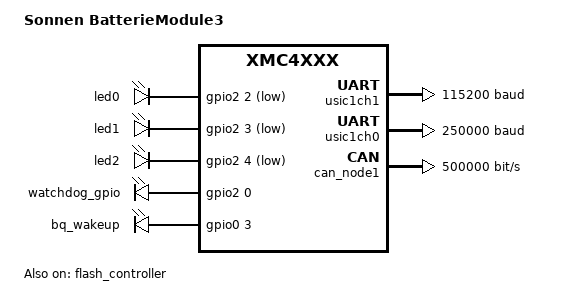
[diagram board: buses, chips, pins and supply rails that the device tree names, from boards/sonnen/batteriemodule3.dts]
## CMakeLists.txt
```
cmake_minimum_required(VERSION 3.13.1)

list(APPEND BOARD_ROOT ${CMAKE_CURRENT_LIST_DIR})

find_package(Zephyr REQUIRED HINTS $ENV{ZEPHYR_BASE})

project(app LANGUAGES C CXX)

INCLUDE_DIRECTORIES(include)

target_sources(app PRIVATE src/main.cpp src/gpio.cpp src/can.c src/pl455.cpp src/module_data.cpp src/slave.cpp src/master.cpp) 
```

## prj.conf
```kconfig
CONFIG_CPP=y
CONFIG_REQUIRES_FULL_LIBCPP=n
CONFIG_CAN=y
CONFIG_GPIO=y
CONFIG_BUILD_OUTPUT_HEX=y
CONFIG_ASSERT=y

CONFIG_CAN_INIT_PRIORITY=80
CONFIG_CAN_MAX_FILTER=5
CONFIG_CAN_ACCEPT_RTR=y

CONFIG_MAIN_STACK_SIZE=4096
CONFIG_DEBUG_OPTIMIZATIONS=y

# CONFIG_HEAP_MEM_POOL_SIZE=12000
CONFIG_THREAD_NAME=y


CONFIG_LOG=y

CONFIG_THREAD_STACK_INFO=y
CONFIG_THREAD_ANALYZER=y
```

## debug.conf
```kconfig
# compiler
CONFIG_DEBUG_OPTIMIZATIONS=y

# console
# CONFIG_CONSOLE=n

# # UART console
# CONFIG_SERIAL=y
# CONFIG_UART_CONSOLE=y

# logging
#CONFIG_LOG=n
#CONFIG_APP_LOG_LEVEL_DBG=n
```

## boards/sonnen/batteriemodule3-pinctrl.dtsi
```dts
/*
 * Copyright (c) 2022 Schlumberger
 * SPDX-License-Identifier: Apache-2.0
 */

#include <infineon/cat3/xmc/xmc4400_F64x512-pinctrl.dtsi>

&uart_tx_p0_1_u1c1 {
	drive-strength = "strong-soft-edge";
	drive-push-pull;
	hwctrl = "disabled";
};

&uart_rx_p0_0_u1c1 {
	drive-strength = "strong-soft-edge";
	hwctrl = "disabled";
};

&uart_tx_p0_5_u1c0 {
	drive-strength = "strong-soft-edge";
	drive-push-pull;
	hwctrl = "disabled";
};

&uart_rx_p0_4_u1c0 {
	drive-strength = "strong-soft-edge";
	hwctrl = "disabled";
};

&can_tx_p2_7_node1 {
	drive-strength = "strong-soft-edge";
	drive-push-pull;
	hwctrl = "disabled";
};

&can_rx_p2_6_node1 {
	drive-strength = "strong-soft-edge";
	hwctrl = "disabled";
};
```

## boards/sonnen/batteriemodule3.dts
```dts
/dts-v1/;

#include <infineon/cat3/xmc/xmc4400_F64x512.dtsi>
#include <infineon/cat3/xmc/xmc4400_F64x512-intc.dtsi>
#include "batteriemodule3-pinctrl.dtsi"

/ {
	model = "Sonnen BatterieModule3";
	compatible = "sonnen,batteriemodule3", "infineon,xmc4400",
						"infineon,xmc4xxx";

	aliases {
		die-temp0 = &die_temp;
		watchdog0 = &wdt0;
		rtc = &rtc;
		led0 = &led0;
		led1 = &led1;
		led2 = &led2;
		watchdogreset = &watchdog_gpio;
		bquart = &usic1ch0;
		bqwakeup = &bq_wakeup;
	};

	leds {
		compatible = "gpio-leds";

		led0: led_0 {
			gpios = <&gpio2 2 GPIO_ACTIVE_LOW>;
		};

		led1: led_1 {
			gpios = <&gpio2 3 GPIO_ACTIVE_LOW>;
		};

		led2: led_2 {
			gpios = <&gpio2 4 GPIO_ACTIVE_LOW>;
		};

		watchdog_gpio: watchdog_gpio {
			gpios = <&gpio2 0 GPIO_ACTIVE_HIGH>;
		};

		bq_wakeup: bq_wakeup {
			gpios = <&gpio0 3 GPIO_ACTIVE_HIGH>;
		};
	};

	chosen {
		zephyr,sram = &dsram1;
		zephyr,flash = &flash0;
		zephyr,console = &usic1ch1;
		zephyr,shell-uart = &usic1ch1;
		zephyr,flash-controller = &flash_controller;
		zephyr,code-partition = &code_partition;
		zephyr,canbus = &can_node1;
	};
};

&psram1 {
	compatible = "zephyr,memory-region", "mmio-sram";
	zephyr,memory-region = "PSRAM1";
};

&dsram2 {
	compatible = "zephyr,memory-region", "mmio-sram";
	zephyr,memory-region = "DSRAM2";
};

&flash_controller {
	status = "okay";
};

&flash0 {
	partitions {
		compatible = "fixed-partitions";
		#address-cells = <1>;
		#size-cells = <1>;

		code_partition: partition@0 {
			reg = <0x0 0x80000>;
			read-only;
		};

		storage_partition: partition@80000 {
			label = "storage";
			reg = <0x80000 0x80000>;
		};
	};
};

&cpu0 {
	clock-frequency = <120000000>;
};

&usic1ch1 {
	compatible = "infineon,xmc4xxx-uart";
	current-speed = <115200>;
	pinctrl-0 = <&uart_tx_p0_1_u1c1 &uart_rx_p0_0_u1c1>;
	pinctrl-names = "default";
	input-src = "DX0D";
	interrupts = <90 1 91 1>;
	interrupt-names = "tx", "rx";
	fifo-start-offset = <0>;
	fifo-tx-size = <0>;
	fifo-rx-size = <0>;
	status = "okay";
};

&usic1ch0 {
	compatible = "infineon,xmc4xxx-uart";
	current-speed = <250000>;
	stop-bits = "1";
	pinctrl-0 = <&uart_tx_p0_5_u1c0 &uart_rx_p0_4_u1c0>;
	pinctrl-names = "default";
	input-src = "DX0A";
	interrupts = <94 1 95 1>;
	interrupt-names = "tx_bq", "rx_bq";
	fifo-start-offset = <0>;
	fifo-tx-size = <0>;
	fifo-rx-size = <64>;
	status = "okay";
};


&gpio0 {
	status = "okay";
};

&gpio1 {
	status = "okay";
};

&gpio2 {
	status = "okay";
};

&can {
	message-objects = <64>;
	clock-prescaler = <6>;
};

&can_node1 {
	status = "okay";
	input-src = "RXDA";
	pinctrl-0 = <&can_tx_p2_7_node1 &can_rx_p2_6_node1>;
	pinctrl-names = "default";
	bus-speed = <500000>;
};
```

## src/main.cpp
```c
#include <zephyr/kernel.h>

#include "gpio.h"
#include "can.h"
#include "slave.h"
#include "master.h"


#define MODULE_ID 0 // Master has id 0

GPIO gpio;

#if MODULE_ID == 0
	K_MSGQ_DEFINE(master_queue, sizeof(Request), 4, 1);
	MasterBMS  master(gpio);
	ModuleData moduleDatas[NUM_MODULES];
#else
	ModuleData moduleDatas[1];
#endif

void messageReceived(uint32_t id, bool rtr, uint8_t *data, uint8_t dataLen)
{
	#if MODULE_ID == 0
	// printk("Received message %x, rtr: %d, dataLen: %d\n", id, rtr, dataLen);

	if(id == 0x4200 && dataLen == 8) // Host request
	{

		constexpr Request e = Request::EnsembleInformation;
		constexpr Request s = Request::SystemEqipmentInformation;
		auto req = (Message::HostRequest*) data;
		k_msgq_put(&master_queue, (req->request == s ? &s : &e), K_NO_WAIT);

	}
	else
	{
		auto moduleId = (id & IdMask) / ModuleOffset;
		if(moduleId >= NUM_MODULES)
		{
			printk("Error: module out of range: %d\n", moduleId);
			return;
		}
		moduleDatas[moduleId].SetRawData(id, data);
		if(moduleDatas[moduleId].isComplete())
		{
			master.updateModuleData(moduleId, moduleDatas[moduleId]);
		}
	}
	#endif
}

void feed(GPIO& gpio)
{
	gpio.Set(GPIO::Name::WATCHDOG, true);
	k_msleep(1);
	gpio.Set(GPIO::Name::WATCHDOG, false);
}

int main(void)
{
	
	CAN_Initialize(messageReceived);
	Slave slave(moduleDatas[0], MODULE_ID, gpio);

	while(1)
	{
		feed(gpio);
		auto update = slave.worker();
		#if MODULE_ID == 0
		if(update)
		{
			master.updateModuleData(MODULE_ID, moduleDatas[0]);
		}
		master.worker(master_queue);
		#endif
	}
	return 0;
}
```

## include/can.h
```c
#pragma once
#ifdef __cplusplus
extern "C" {
#endif

#include <stdbool.h>
#include <stdint.h>

#define CAN_ERROR -1
#define CAN_SUCCESS 0


typedef void (*CAN_RxCallback)(uint32_t id, bool rtr, uint8_t *data, uint8_t dataLen);

int CAN_Initialize(CAN_RxCallback rxCallback);
int CAN_Send(uint32_t id, uint8_t *data, uint8_t dataLen);

#ifdef __cplusplus
}
#endif
```

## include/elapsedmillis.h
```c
#pragma once

class elapsedMillis
{
private:
    uint32_t ms;
public:
    // Default constructor: sets the start time to current uptime.
    elapsedMillis(void) { ms = k_uptime_get_32(); }

    // Constructor that simulates a timer started "val" milliseconds ago.
    elapsedMillis(unsigned long val) { ms = k_uptime_get_32() - val; }

    // Copy constructor.
    elapsedMillis(const elapsedMillis &orig) { ms = orig.ms; }

    // Implicit conversion to unsigned long returns the elapsed time.
    operator unsigned long () const { return k_uptime_get_32() - ms; }

    // Copy assignment operator.
    elapsedMillis & operator = (const elapsedMillis &rhs) { ms = rhs.ms; return *this; }

    // Assignment from an unsigned long value: resets the timer such that the elapsed time equals the given value.
    elapsedMillis & operator = (unsigned long val) { ms = k_uptime_get_32() - val; return *this; }

    // Adjust the timer: add a delay.
    elapsedMillis & operator -= (unsigned long val) { ms += val; return *this; }

    // Adjust the timer: subtract a delay.
    elapsedMillis & operator += (unsigned long val) { ms -= val; return *this; }

    // Arithmetic operators that return a new elapsedMillis object.
    elapsedMillis operator - (int val) const           { elapsedMillis r(*this); r.ms += val; return r; }
    elapsedMillis operator - (unsigned int val) const    { elapsedMillis r(*this); r.ms += val; return r; }
    elapsedMillis operator - (long val) const            { elapsedMillis r(*this); r.ms += val; return r; }
    elapsedMillis operator - (unsigned long val) const   { elapsedMillis r(*this); r.ms += val; return r; }
    elapsedMillis operator + (int val) const             { elapsedMillis r(*this); r.ms -= val; return r; }
    elapsedMillis operator + (unsigned int val) const    { elapsedMillis r(*this); r.ms -= val; return r; }
    elapsedMillis operator + (long val) const            { elapsedMillis r(*this); r.ms -= val; return r; }
    elapsedMillis operator + (unsigned long val) const   { elapsedMillis r(*this); r.ms -= val; return r; }
};
```

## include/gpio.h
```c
#ifndef LEDS_H
#define LEDS_H

#include <zephyr/kernel.h>
#include <zephyr/drivers/gpio.h>

class GPIO 
{
public:
    enum class Name {LED0, LED1, LED2, WATCHDOG};
	GPIO();

	bool Get(Name name);
    void Toggle(Name name);
    void Set(Name name, bool value);

private:
	struct gpio_dt_spec led1_spec;
	struct gpio_dt_spec led2_spec;
	struct gpio_dt_spec led0_spec;
	struct gpio_dt_spec watchdogreset_spec;
};

#endif // LEDS_H
```

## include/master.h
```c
#pragma once

#include "pylon_hv.h"
#include "module_data.h"
#include <cstddef>
#include "gpio.h"

#ifndef CONFIG_MASTER_BMS_LOG_LEVEL
#define CONFIG_MASTER_BMS_LOG_LEVEL LOG_LEVEL_INF
#endif

#define MODULE_DATA_TIMEOUT_MS 5000

#define NUM_MODULES 2

class MasterBMS {
public:
    MasterBMS(GPIO& gpio);

    // Update data for a specific module
    // Returns true if successful, false on invalid index
    bool updateModuleData(uint8_t moduleIndex, const ModuleData& data);

    // Process all received module data to update master status
    void processData();

    // --- Getters for Output Data ---
    const Message::Status& getStatus() const;
    const Message::ChargeDischargeParameters& getChargeDischargeParameters() const;
    const Message::CellVoltageStatus& getCellVoltageStatus() const;
    const Message::CellTemperatureStatus& getCellTemperatureStatus() const;
    const Message::Bits& getBits() const;
    const Message::ModuleVoltageStatus& getModuleVoltageStatus() const;
    const Message::ModuleTemperatureStatus& getModuleTemperatureStatus() const;
    const Message::ChargeDischargeStatus& getChargeDischargeStatus() const;
    const Message::FaultExtensionInfo& getFaultExtensionInfo() const;

    // --- Host Request Handling (Example) ---
    void handleHostRequest(Request request);
    void worker(k_msgq& queue);


private:
    // Compile-time check for number of modules
    static_assert(NUM_MODULES > 0, "Number of modules must be greater than zero.");

    GPIO& mGPIO;

    // Internal Data Storage (C-Style Arrays)
    ModuleData moduleData_[NUM_MODULES] = {};
    bool initializedModules_[NUM_MODULES] = {0}; // Track if initial data received
    int64_t lastUpdateTimeMs_[NUM_MODULES] = {0}; // Track data freshness
    bool allModulesInitialized_ = false;
    bool communicationOk_ = false; // Tracks if all modules are communicating within timeout

    // Output data storage
    Message::Status outputStatus_{};
    Message::ChargeDischargeParameters outputChargeDischargeParams_{};
    Message::CellVoltageStatus outputCellVoltageStatus_{};
    Message::CellTemperatureStatus outputCellTemperatureStatus_{};
    Message::Bits outputBits_{};
    Message::ModuleVoltageStatus outputModuleVoltageStatus_{};
    Message::ModuleTemperatureStatus outputModuleTemperatureStatus_{};
    Message::ChargeDischargeStatus outputChargeDischargeStatus_{};
    Message::FaultExtensionInfo outputFaultExt_{};

    // --- Placeholder Thresholds (DEFINE THESE BASED ON LFP DATASHEET AND SYSTEM REQUIREMENTS) ---
    // Cell Voltages in 0.1mV
    static constexpr uint16_t CELL_OVER_VOLTAGE_PROTECTION_THRESHOLD_01MV = 36500; // 3.65V
    static constexpr uint16_t CELL_UNDER_VOLTAGE_PROTECTION_THRESHOLD_01MV = 25000; // 2.50V
    static constexpr uint16_t CELL_OVER_VOLTAGE_ALARM_THRESHOLD_01MV = 36000;    // 3.60V
    static constexpr uint16_t CELL_UNDER_VOLTAGE_ALARM_THRESHOLD_01MV = 27000;   // 2.70V

    // Module Voltages in 0.1V (Sum of m1+m2)
    static constexpr uint16_t MODULE_OVER_VOLTAGE_PROTECTION_THRESHOLD_01V = (365 * 32) / 10; // 3.65V/cell * 32 cells -> 116.8V -> 1168 * 0.1V
    static constexpr uint16_t MODULE_UNDER_VOLTAGE_PROTECTION_THRESHOLD_01V = (250 * 32) / 10; // 2.50V/cell * 32 cells -> 80.0V -> 800 * 0.1V
    static constexpr uint16_t MODULE_OVER_VOLTAGE_ALARM_THRESHOLD_01V = (360 * 32) / 10;     // 3.60V/cell * 32 cells -> 115.2V -> 1152 * 0.1V
    static constexpr uint16_t MODULE_UNDER_VOLTAGE_ALARM_THRESHOLD_01V = (270 * 32) / 10;    // 2.70V/cell * 32 cells -> 86.4V -> 864 * 0.1V

    // Temperatures in 0.1C (Non-negative)
    static constexpr uint16_t CHARGE_OVER_TEMP_PROTECTION_THRESHOLD_01C = 500;   // 50.0 C
    static constexpr uint16_t CHARGE_UNDER_TEMP_PROTECTION_THRESHOLD_01C = 0;      // 0.0 C
    static constexpr uint16_t DISCHARGE_OVER_TEMP_PROTECTION_THRESHOLD_01C = 600;  // 60.0 C
    static constexpr uint16_t DISCHARGE_UNDER_TEMP_PROTECTION_THRESHOLD_01C = 10; // 1.0 C (Example, avoid discharge below freezing if needed, was -200 before)
    static constexpr uint16_t CHARGE_HIGH_TEMP_ALARM_THRESHOLD_01C = 450;    // 45.0 C
    static constexpr uint16_t CHARGE_LOW_TEMP_ALARM_THRESHOLD_01C = 50;     // 5.0 C
    static constexpr uint16_t DISCHARGE_HIGH_TEMP_ALARM_THRESHOLD_01C = 550;   // 55.0 C
    static constexpr uint16_t DISCHARGE_LOW_TEMP_ALARM_THRESHOLD_01C = 50;    // 5.0 C (Was -100 before)

    // Currents in 0.1A (System Level)
    // Note: Input current is 0.1mA, requires scaling
    static constexpr int16_t CHARGE_OVER_CURRENT_PROTECTION_THRESHOLD_01A = 190; // 19A Charge
    static constexpr int16_t DISCHARGE_OVER_CURRENT_PROTECTION_THRESHOLD_01A = -190;// 19A Discharge (Negative)
    static constexpr int16_t CHARGE_OVER_CURRENT_ALARM_THRESHOLD_01A = 180;  // 18A Charge
    static constexpr int16_t DISCHARGE_OVER_CURRENT_ALARM_THRESHOLD_01A = -180; // 18A Discharge (Negative)

    // SOC Derating Thresholds (%)
    static constexpr uint8_t SOC_HIGH_CHARGE_DERATE_START = 90;         // Start reducing charge current above this SOC
    static constexpr uint8_t SOC_NEAR_FULL_CHARGE_DERATE_START = 95;    // Reduce charge current further
    static constexpr uint8_t SOC_LOW_DISCHARGE_DERATE_START = 10;       // Start reducing discharge current below this SOC
    static constexpr uint8_t SOC_NEAR_EMPTY_DISCHARGE_DERATE_START = 5; // Reduce discharge current further

    // Cell Imbalance Threshold (0.1mV) - Reduce current if max-min cell voltage exceeds this
    static constexpr uint16_t CELL_IMBALANCE_DERATE_THRESHOLD_01MV = 1000; // 100mV example

    // SOH Derating Thresholds (%) - Reduce current below these SOH values
    static constexpr uint8_t SOH_DERATE_LEVEL1_THRESHOLD = 90;
    static constexpr uint8_t SOH_DERATE_LEVEL2_THRESHOLD = 80;
    static constexpr uint8_t SOH_DERATE_LEVEL3_THRESHOLD = 70;

    // Derating Factors (0.0 to 1.0) - Multipliers applied to base current limit
    static constexpr float TEMP_DERATE_FACTOR = 0.5f;
    static constexpr float SOC_HIGH_CHARGE_FACTOR = 0.5f;
    static constexpr float SOC_NEAR_FULL_CHARGE_FACTOR = 0.2f;
    static constexpr float SOC_LOW_DISCHARGE_FACTOR = 0.5f;
    static constexpr float SOC_NEAR_EMPTY_DISCHARGE_FACTOR = 0.2f;
    static constexpr float IMBALANCE_DERATE_FACTOR = 0.5f;
    static constexpr float SOH_DERATE_LEVEL1_FACTOR = 0.9f;
    static constexpr float SOH_DERATE_LEVEL2_FACTOR = 0.8f;
    static constexpr float SOH_DERATE_LEVEL3_FACTOR = 0.7f;

    // System Voltage Limits in 0.1V (Example values)
    // Calculated based on NUM_MODULES, defined in constructor or method
    uint16_t SYSTEM_CHARGE_CUTOFF_VOLTAGE_01V = (360 * 32 * NUM_MODULES) / 10; // ~3.6V per cell
    uint16_t SYSTEM_DISCHARGE_CUTOFF_VOLTAGE_01V = (280 * 32 * NUM_MODULES) / 10; // ~2.8V per cell


    // --- Private Helper Methods ---
    void resetOutputs();
    void checkAllModulesInitialized();
    bool checkCommunicationTimeout(); // Returns true if communication is OK

    // Calculation Helpers
    uint8_t calculateSOC(uint16_t min_cell_voltage);
    uint8_t calculateSOH();
    uint16_t calculateMaxChargeCurrent(); // Returns absolute value in 0.1A
    uint16_t calculateMaxDischargeCurrent(); // Returns absolute value in 0.1A
    State determineSystemState(int16_t);
};
```

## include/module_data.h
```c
#pragma once

#include <stdint.h>

constexpr uint32_t BaseAddress = 	0x11DD0000;
constexpr uint32_t ModuleOffset = 		0x1000;
constexpr uint32_t ModuleStateOffset = 	 0x000;
constexpr uint32_t CellStateOffset = 	 0x100;
constexpr uint32_t AdcVoltageOffset =    0x200;
constexpr uint32_t DataTypeMask =   	 0xF00;
constexpr uint32_t DataChannelMask =   	  0xFF;
constexpr uint32_t IdMask =   		 	0xF000;

struct CellState
{
	uint16_t voltage; //in 0,1mV steps
	uint8_t balancing; // indicates if cell is currently balanced
} __attribute__((packed));

struct ModuleState
{
	// m1 + m2 gives module voltage, m1 is for first 16 cells m2 is for second 16 cells
	uint16_t m1Voltage; //in 0,1V steps
	uint16_t m2Voltage; //in 0,1V steps
	int16_t current; //in 0,1mA steps
	uint16_t temperature; //in 0,1C steps
} __attribute__((packed));

struct ModuleData
{
    ModuleState moduleState;
    CellState cellStates[32];
	uint16_t adcStates[16];
	void SetRawData(uint32_t address, uint8_t *data);
	uint32_t cellStatesUpdateFlags = 0;
	uint16_t adcUpdateFlags = 0;
	bool moduleStateFlag = false;
	bool isComplete();
};
```

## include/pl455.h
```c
#include <zephyr/drivers/uart.h>
#include <zephyr/drivers/gpio.h>
#include <zephyr/kernel.h>
#include <errno.h>
#include <string.h>
#include "pl455_config.h"
#include "elapsedmillis.h"
#include "module_data.h"
#include "thread_wrapper.h"
#include "gpio.h"

#define SCOPE_SINGLE 0
#define SCOPE_GROUP 1
#define SCOPE_BRDCST 3

#ifndef CONFIG_PL455_LOG_LEVEL
#define CONFIG_PL455_LOG_LEVEL LOG_LEVEL_INF
#endif

class PL455
{
public:
    PL455(GPIO& gpio);

    int wakeup();

    void init();
    uint16_t getModuleVoltage(uint8_t module);
    uint16_t getCellVoltage(uint8_t module, uint8_t cell);
    uint16_t getAuxVoltage(uint8_t module, uint8_t aux);
    int getNumModules();
    uint16_t getMinCellVoltage();
    uint16_t getMaxCellVoltage();
    uint16_t getDifCellVoltage();
    void runBMS();
    bool getBalanceStatus(uint8_t module, uint8_t cell);
    float getTemperature(uint8_t module, uint8_t sensor);
    void fillModuleData(ModuleData& data);


private:
    GPIO& mGPIO;
    const struct device *uartDev;
    struct gpio_dt_spec wakeupGPIO;

    uint16_t CRC16(uint8_t *pBuf, int nLen);
    uint8_t getInitFrame(uint8_t _readWrite, uint8_t scope, uint8_t data_size);
    uint16_t adc2volt(uint16_t adcReading);
    float adc2temp(uint16_t adcReading);
    void send_Frame(uint8_t *message, int messageLength);
    void writeRegister(uint8_t scope, uint8_t device_addr, uint8_t register_addr, const uint8_t *data, uint8_t data_size);
    void readRegister(uint8_t scope, uint8_t device_addr, uint8_t group_id, uint8_t register_addr, uint8_t uint8_tsToReturn);
    void configure();
    void setAddresses();
    void findMinMaxCellVolt();
    void chooseBalanceCells();
    void listenSerial();
    void commReset(bool reset);
    uint8_t numModules = 0;
    bool rxInProgress = 0;
    uint8_t uint8_tsToReceive = 0;
    uint8_t uint8_tsReceived = 0;
    uint8_t registerRequested = 0;
    uint8_t deviceRequested = 0;
    uint8_t scopeRequested = 0;
    uint8_t serialRXbuffer[132];
    bool waitingForResponse = 0;
    bool sentRequest = 0;
    uint16_t moduleVoltages[MAX_MODULES] = {0};    // stores module voltages (raw ADC 16bit values)
    uint16_t cellVoltages[MAX_MODULES][NUM_CELLS] = {0};
    uint16_t auxVoltages[MAX_MODULES][8] = {0};
    uint16_t minCellVoltage = 0;
    uint16_t maxCellVoltage = 0;
    int16_t difCellVoltage = 0;
    bool balanceCells[MAX_MODULES][NUM_CELLS] = {0};
    uint8_t bmsStep = 0;
    unsigned long bmsStepPeriod = 0; // microseconds
    unsigned long bmsStepTime = 0;   // microseconds
    elapsedMillis commTimeout;
    uint8_t bmsSteps;
    uint8_t voltsRequested = 0;

    

    
};
```

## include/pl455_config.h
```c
#ifndef CONFIGH
#define CONFIGH


#define NUM_CELLS 16
#define ADDR_SIZE 0 //0 is 8 bit register addresses (TI recommended), 1 is 16 bit (used by BMW)
#define MAX_MODULES 2 //maximum of 16 modules in a pack
#define COMM_TIMEOUT 1000 //ms, sets an error flag if we don't recieve a response to a request in this time

#define CELL_IGNORE_VOLT 5000 //ADC readings below this number will result in the cell being ignored for min and average etc calcuations. 5000 is 381mV, which should be plenty high enough to ignore disconnected cells
#define BALANCE_TOLERANCE 26 //Balance will not be enabled for cells <2mV away from the min cell voltage. 26 is 2mV
#define BALANCE_DUTYCYCLE 90 //Percent, approximate!
#define BALANCE_MIN_VOLT 39321 //ADC readings below this number will preclude balancing. 39321 is 3.0V
#define BALANCE_WHILE_CHARGE 1 //if 1, the BMS will always balance while charging (current < 0), even if voltages are low

#define BMS_CYCLE_PERIOD 500000 //microseconds, you get a voltage reading approximately this often (actually, the time between voltages will always be greater due to sampling times and delays)

#define REPORTING_PERIOD 1000 //milliseconds - you get an status output this frequently.
#define VOLTS_DECIMALS 3 //decimal points used for voltage reporting
#define TEMP_DECIMALS 1

#define UPS_VOLT_READ_PERIOD 500 //ms

#endif //CONFIGH
```

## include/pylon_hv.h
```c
#pragma once

#include <stdint.h>

enum State
{
    Sleep = 0,
    Charge = 1,
    Discharge = 2,
    Idle = 3
} __attribute__((__packed__));

struct StatusBits
{
    State status : 3;
    bool forced_charge_request : 1;
    bool balance_charge_request : 1;
    bool reserved1 : 1;
    bool reserved2 : 1;
    bool reserved3 : 1;
} __attribute__((__packed__));

struct FaultBits
{
    bool voltage_sensor_error : 1;
    bool temperature_sensor_error : 1;
    bool internal_comm_error : 1;
    bool input_over_voltage_error : 1;
    bool input_transposition_error : 1;
    bool relay_check_error : 1;
    bool battery_damage_error : 1;
    bool other_error : 1;
} __attribute__((__packed__));

struct AlarmBits
{
    bool blv : 1;
    bool bhv : 1;
    bool plv : 1;
    bool phv : 1;
    bool clt : 1;
    bool cht : 1;
    bool dlt : 1;
    bool dht : 1;
    bool coca : 1;
    bool doca : 1;
    bool mlv : 1;
    bool mhv : 1;
    bool reserved1 : 1;
    bool reserved2 : 1;
    bool reserved3 : 1;
    bool reserved4 : 1;
} __attribute__((__packed__));

struct ProtectionBits
{
    bool buv : 1;
    bool bov : 1;
    bool puv : 1;
    bool pov : 1;
    bool cut : 1;
    bool cot : 1;
    bool dut : 1;
    bool dot : 1;
    bool coc : 1;
    bool doc : 1;
    bool muv : 1;
    bool mov : 1;
    bool reserved1 : 1;
    bool reserved2 : 1;
    bool reserved3 : 1;
    bool reserved4 : 1;
} __attribute__((__packed__));

struct FaultExtensionBits
{
    bool shutdown_circuit_error : 1;
    bool bmic_error : 1;
    bool internal_bus_error : 1;
    bool power_on_self_test_error : 1;
    bool safety_function_error : 1;
    bool reserved1 : 1;
    bool reserved2 : 1;
    bool reserved3 : 1;
} __attribute__((__packed__));

enum Request : uint8_t
{
    EnsembleInformation = 0,
    SystemEqipmentInformation = 2,
};

namespace Message
{

struct HostRequest
{
    Request request;
    uint8_t reserved1;
    uint8_t reserved2;
    uint8_t reserved3;
    uint8_t reserved4;
    uint8_t reserved5;
    uint8_t reserved6;
    uint8_t reserved7;
}__attribute__((__packed__));

struct Status // 0x4210
{
    uint16_t total_voltage;
    uint16_t current;
    uint16_t temperature;
    uint8_t soc;
    uint8_t soh;
} __attribute__((__packed__));

struct ChargeDischargeParameters //0x4220
{
    uint16_t charge_cutoff_voltage;
    uint16_t discharge_cutoff_voltage;
    uint16_t max_charge_current;
    uint16_t max_discharge_current;
} __attribute__((__packed__));

struct CellVoltageStatus //0x4230
{
    uint16_t max_cell_voltage;
    uint16_t min_cell_voltage;
    uint16_t max_cell_voltage_index;
    uint16_t min_cell_voltage_index;
} __attribute__((__packed__));

struct CellTemperatureStatus //0x4240
{
    uint16_t max_cell_temp;
    uint16_t min_cell_temp;
    uint16_t max_temp_cell_index;
    uint16_t min_temp_cell_index;
} __attribute__((__packed__));

struct Bits //0x4250
{
    StatusBits basic_status;
    uint16_t cycle_period;
    FaultBits error;
    AlarmBits alarm;
    ProtectionBits protection;
} __attribute__((__packed__));

struct ModuleVoltageStatus //0x4260
{
    uint16_t module_max_voltage;
    uint16_t module_min_voltage;
    uint16_t module_max_voltage_index;
    uint16_t module_min_voltage_index;
} __attribute__((__packed__));

struct ModuleTemperatureStatus //0x4270
{
    uint16_t module_max_temp;
    uint16_t module_min_temp;
    uint16_t module_max_temp_index;
    uint16_t module_min_temp_index;
} __attribute__((__packed__));

struct ChargeDischargeStatus //0x4280
{
    uint8_t charge_forbidden;
    uint8_t discharge_forbidden;
    uint8_t reserved2;
    uint8_t reserved3;
    uint8_t reserved4;
    uint8_t reserved5;
    uint8_t reserved6;
    uint8_t reserved7;
} __attribute__((__packed__));

struct FaultExtensionInfo //0x4090
{
    FaultExtensionBits fault_ext1;
    uint8_t reserved1;
    uint8_t reserved2;
    uint8_t reserved3;
    uint8_t reserved4;
    uint8_t reserved5;
    uint8_t reserved6;
    uint8_t reserved7;
} __attribute__((__packed__));

//0x42E0 - unknown FF 00 00 00 00 00 00 00
//0x42F0 - DynessHV :) GibolHV!
//0x4300 - unknown 03 00 00 00 00 00 00 00

struct SystemEquipmentInfo1 //0x7310
{
    uint8_t hardware_version_code;
    uint8_t reserved;
    uint8_t hardware_version_v;
    uint8_t hardware_version_r;
    uint8_t software_version_major;
    uint8_t software_version_minor;
    uint8_t software_dev_major;
    uint8_t software_dev_minor;
}__attribute__((__packed__)) ;

struct SystemEquipmentInfo2 //0x7320
{
    uint16_t battery_module_qty;
    uint8_t battery_modules_in_series;
    uint8_t cell_qty_per_module;
    uint16_t voltage_level;
    uint16_t ah_number;
}__attribute__((__packed__));

}

constexpr uint32_t CAN_ID_STATUS                    = 0x4210; 
constexpr uint32_t CAN_ID_CHARGE_DISCHARGE_PARAMS   = 0x4220; 
constexpr uint32_t CAN_ID_CELL_VOLTAGE_STATUS       = 0x4230;
constexpr uint32_t CAN_ID_CELL_TEMPERATURE_STATUS   = 0x4240; 
constexpr uint32_t CAN_ID_BITS                      = 0x4250; 
constexpr uint32_t CAN_ID_MODULE_VOLTAGE_STATUS     = 0x4260; 
constexpr uint32_t CAN_ID_MODULE_TEMPERATURE_STATUS = 0x4270; 
constexpr uint32_t CAN_ID_CHARGE_DISCHARGE_STATUS   = 0x4280; 
constexpr uint32_t CAN_ID_FAULT_EXTENSION_INFO      = 0x4290; 
```

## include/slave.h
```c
#pragma once

#include "module_data.h"
#include "pl455.h"
#include "gpio.h"
#include "elapsedmillis.h"

class Slave
{
    public:
    Slave(ModuleData& moduleData, uint8_t id, GPIO &gpio);
    bool worker();

    private:
    uint8_t mId;
    ModuleData &mData;
    PL455 mBalancer;
    GPIO& mGPIO;
    elapsedMillis lastUpdate;
};
```

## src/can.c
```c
#include "can.h"
#include <zephyr/kernel.h>
#include <zephyr/sys/printk.h>
#include <zephyr/device.h>
#include <zephyr/drivers/can.h>
#include <zephyr/drivers/gpio.h>
#include <zephyr/sys/byteorder.h>

#define RX_THREAD_STACK_SIZE 512
#define RX_THREAD_PRIORITY 2
#define STATE_POLL_THREAD_STACK_SIZE 512
#define STATE_POLL_THREAD_PRIORITY 2
#define SLEEP_TIME K_MSEC(250)

K_THREAD_STACK_DEFINE(rx_thread_stack, RX_THREAD_STACK_SIZE);
K_THREAD_STACK_DEFINE(poll_state_stack, STATE_POLL_THREAD_STACK_SIZE);

const struct device *const can_dev = DEVICE_DT_GET(DT_CHOSEN(zephyr_canbus));

struct k_thread rx_thread_data;
struct k_thread poll_state_thread_data;
struct k_work state_change_work;
enum can_state current_state;
struct can_bus_err_cnt current_err_cnt;

CAN_MSGQ_DEFINE(counter_msgq, 64);

void tx_irq_callback(const struct device *dev, int error, void *arg)
{
    char *sender = (char *)arg;

    ARG_UNUSED(dev);

    if (error != 0)
    {
        printf("Callback! error-code: %d\nSender: %s\n",
               error, sender);
    }
}

void rx_thread(void *arg1, void *arg2, void *arg3)
{
    (void) arg2;
    (void) arg3;

    CAN_RxCallback rx_callback = arg1;

    const struct can_filter filters[2] = {
        // Filter 1: Match exactly 0x4200 (extended ID)
        {
            .flags = CAN_FILTER_IDE,
            .id = 0x4200,
            .mask = CAN_EXT_ID_MASK,  // Full match on all bits
        },
        // Filter 2: Match any ID of the form 0x11DDxxxx
        {
            .flags = CAN_FILTER_IDE,
            .id = 0x11DD0000,
            .mask = 0xFFFF0000,  // Only match the top 16 bits
        }
    };

    struct can_frame frame;

    int filter_id;

    filter_id = can_add_rx_filter_msgq(can_dev, &counter_msgq, &filters[0]);
    //printf("Counter filter id: %d\n", filter_id);

    filter_id = can_add_rx_filter_msgq(can_dev, &counter_msgq, &filters[1]);
    //printf("Counter filter id: %d\n", filter_id);

    while (1)
    {
        k_msgq_get(&counter_msgq, &frame, K_FOREVER);
        // printk("flags: %d\n", frame.flags);
        int rtr = (frame.flags & CAN_FRAME_RTR);

        rx_callback(frame.id, rtr, frame.data, frame.dlc);
    }
}

char *state_to_str(enum can_state state)
{
    switch (state)
    {
    case CAN_STATE_ERROR_ACTIVE:
        return "error-active";
    case CAN_STATE_ERROR_WARNING:
        return "error-warning";
    case CAN_STATE_ERROR_PASSIVE:
        return "error-passive";
    case CAN_STATE_BUS_OFF:
        return "bus-off";
    case CAN_STATE_STOPPED:
        return "stopped";
    default:
        return "unknown";
    }
}

void poll_state_thread(void *unused1, void *unused2, void *unused3)
{
    struct can_bus_err_cnt err_cnt = {0, 0};
    struct can_bus_err_cnt err_cnt_prev = {0, 0};
    enum can_state state_prev = CAN_STATE_ERROR_ACTIVE;
    enum can_state state;
    int err;

    while (1)
    {
        err = can_get_state(can_dev, &state, &err_cnt);
        if (err != 0)
        {
            printf("Failed to get CAN controller state: %d", err);
            k_sleep(K_MSEC(100));
            continue;
        }

        if (err_cnt.tx_err_cnt != err_cnt_prev.tx_err_cnt ||
            err_cnt.rx_err_cnt != err_cnt_prev.rx_err_cnt ||
            state_prev != state)
        {

            err_cnt_prev.tx_err_cnt = err_cnt.tx_err_cnt;
            err_cnt_prev.rx_err_cnt = err_cnt.rx_err_cnt;
            state_prev = state;
            printf("state: %s\n"
                   "rx error count: %d\n"
                   "tx error count: %d\n",
                   state_to_str(state),
                   err_cnt.rx_err_cnt, err_cnt.tx_err_cnt);
        }
        else
        {
            k_sleep(K_MSEC(100));
        }
    }
}

void state_change_work_handler(struct k_work *work)
{
    printf("State Change ISR\nstate: %s\n"
           "rx error count: %d\n"
           "tx error count: %d\n",
           state_to_str(current_state),
           current_err_cnt.rx_err_cnt, current_err_cnt.tx_err_cnt);
}

void state_change_callback(const struct device *dev, enum can_state state,
                           struct can_bus_err_cnt err_cnt, void *user_data)
{
    struct k_work *work = (struct k_work *)user_data;

    ARG_UNUSED(dev);

    current_state = state;
    current_err_cnt = err_cnt;
    k_work_submit(work);
}

k_tid_t rx_tid, get_state_tid;

int CAN_Initialize(CAN_RxCallback rxCallback)
{
    int ret;
    if (!device_is_ready(can_dev))
    {
        printk("CAN: Device %s not ready.\n", can_dev->name);
        return CAN_ERROR;
    }

    ret = can_start(can_dev);
    if (ret != 0)
    {
        printf("Error starting CAN controller [%d]", ret);
        return CAN_ERROR;
    }

    k_work_init(&state_change_work, state_change_work_handler);

    rx_tid = k_thread_create(&rx_thread_data, rx_thread_stack,
                             K_THREAD_STACK_SIZEOF(rx_thread_stack),
                             rx_thread, rxCallback, NULL, NULL,
                             RX_THREAD_PRIORITY, 0, K_NO_WAIT);
    if (!rx_tid)
    {
        printk("ERROR spawning rx thread\n");
        return CAN_ERROR;
    }

    get_state_tid = k_thread_create(&poll_state_thread_data,
                                    poll_state_stack,
                                    K_THREAD_STACK_SIZEOF(poll_state_stack),
                                    poll_state_thread, NULL, NULL, NULL,
                                    STATE_POLL_THREAD_PRIORITY, 0,
                                    K_NO_WAIT);
    if (!get_state_tid)
    {
        printk("ERROR spawning poll_state_thread\n");
        return CAN_ERROR;
    }

    can_set_state_change_callback(can_dev, state_change_callback, &state_change_work);

    printk("Finished CAN init.\n");

    return CAN_SUCCESS;
}

int CAN_Send(uint32_t id, uint8_t *data, uint8_t dataLen)
{
    //printk("CAN_Send to: %x\n", id);
    struct can_frame frame = {
        .flags = CAN_FRAME_IDE,
        .id = id,
        .dlc = dataLen};

    memcpy(frame.data, data, dataLen);

    int retry = 5;
    int ret = -1;

    while (retry && ret)
    {
        ret = can_send(can_dev, &frame, K_MSEC(100), NULL, NULL);
        if (ret != 0)
        {
            printk("can_send failed: %d\n", ret);
        }
    }

    if (ret != 0)
    {
        return CAN_ERROR;
    }
    return CAN_SUCCESS;
}
```

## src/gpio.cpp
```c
#include "gpio.h"

#define LED0_NODE DT_ALIAS(led0)
#if !DT_NODE_HAS_STATUS_OKAY(LED0_NODE)
#error "BOARD does not define LED0"
#endif

#define LED1_NODE DT_ALIAS(led1)
#if !DT_NODE_HAS_STATUS_OKAY(LED1_NODE)
#error "BOARD does not define LED1"
#endif

#define LED2_NODE DT_ALIAS(led2)
#if !DT_NODE_HAS_STATUS_OKAY(LED2_NODE)
#error "BOARD does not define LED2"
#endif

#define WATCHDOG_RESET_NODE DT_ALIAS(watchdogreset)
#if !DT_NODE_HAS_STATUS_OKAY(WATCHDOG_RESET_NODE)
#error "BOARD does not define WATCHDOG_RESET"
#endif

GPIO::GPIO() 
{
	led0_spec = GPIO_DT_SPEC_GET(LED0_NODE, gpios);
	led1_spec = GPIO_DT_SPEC_GET(LED1_NODE, gpios);
	led2_spec = GPIO_DT_SPEC_GET(LED2_NODE, gpios);
    watchdogreset_spec = GPIO_DT_SPEC_GET(WATCHDOG_RESET_NODE, gpios); 

	/* Verify that each GPIO device is ready */
	if (!device_is_ready(led0_spec.port) ||
	    !device_is_ready(led1_spec.port) ||
        !device_is_ready(led2_spec.port) ||
	    !device_is_ready(watchdogreset_spec.port) ) {
		printk("Error: One or more GPIO devices are not ready\n");
		return;
	}

	/* Configure LED pins as outputs.
	 * Using GPIO_OUTPUT_INACTIVE sets the initial state; adjust if needed.
	 */
	gpio_pin_configure_dt(&led0_spec, GPIO_OUTPUT_INACTIVE);
	gpio_pin_configure_dt(&led1_spec, GPIO_OUTPUT_INACTIVE);
	gpio_pin_configure_dt(&led2_spec, GPIO_OUTPUT_INACTIVE);
    gpio_pin_configure_dt(&watchdogreset_spec, GPIO_OUTPUT_INACTIVE);
}

void GPIO::Set(Name name, bool state)
{
	switch (name) {
        case Name::LED0:
            gpio_pin_set_dt(&led0_spec, state);
            break;
        case Name::LED1:
            gpio_pin_set_dt(&led1_spec, state);
            break;
        case Name::LED2:
            gpio_pin_set_dt(&led2_spec, state);
            break;
        case Name::WATCHDOG:
            gpio_pin_set_dt(&watchdogreset_spec, state);
            break;
        default:
            printk("Invalid gpio: %d\n", (int) name);
            break;
        }
}

bool GPIO::Get(Name name)
{
	switch (name) {
        case Name::LED0:
            return gpio_pin_get_dt(&led0_spec);
        case Name::LED1:
            return gpio_pin_get_dt(&led1_spec);
        case Name::LED2:
            return gpio_pin_get_dt(&led2_spec);
        case Name::WATCHDOG:
            return gpio_pin_get_dt(&watchdogreset_spec);
            break;
        default:
            printk("Invalid LED number: %d\n", (int) name);
            return false;
        }
}

void GPIO::Toggle(Name name) 
{
    Set(name, !Get(name));
}
```
